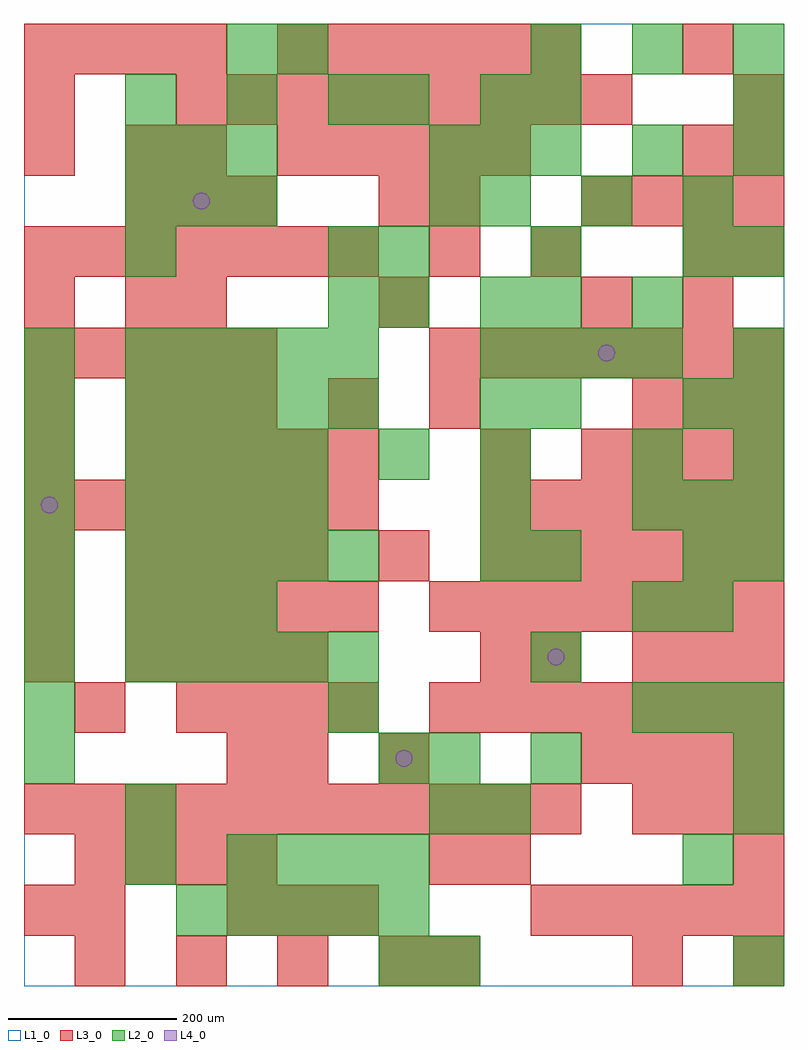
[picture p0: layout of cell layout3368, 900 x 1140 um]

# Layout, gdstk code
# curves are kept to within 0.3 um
import gdstk
lib = gdstk.Library(unit=1e-6, precision=1e-09)
def R(c, l, rs):  # rectangles x0, y0, x1, y1
    for r in rs: c.add(gdstk.rectangle(r[:2], r[2:], *l))
def A(c, l, x, y, w, h, nx, ny, dx, dy):  # array of equal rectangles
    R(c, l, [(x+i*dx, y+j*dy, x+i*dx+w, y+j*dy+h) for i in range(nx) for j in range(ny)])
def P(c, l, *ps):  # polygons
    for p in ps: c.add(gdstk.Polygon(p, *l))
L1_0 = (1, 0)
L2_0 = (2, 0)
L3_0 = (3, 0)
L4_0 = (4, 0)

layout3368 = lib.new_cell('layout3368')
R(layout3368, L1_0, [(0,0,900,1140)])
A(layout3368, L2_0, 180, 60, 60, 60, 5, 1, 60, 0)
A(layout3368, L2_0, 240, 120, 60, 60, 4, 1, 60, 0)
A(layout3368, L2_0, 840, 180, 60, 60, 1, 3, 0, 60)
A(layout3368, L2_0, 600, 240, 60, 60, 1, 3, 0, 120)
A(layout3368, L2_0, 0, 300, 60, 60, 3, 1, 360, 0)
A(layout3368, L2_0, 0, 360, 60, 60, 1, 7, 0, 60)
A(layout3368, L2_0, 120, 360, 60, 60, 5, 2, 60, 120)
A(layout3368, L2_0, 120, 420, 60, 60, 3, 2, 60, 480)
A(layout3368, L2_0, 720, 420, 60, 60, 1, 4, 0, 180)
A(layout3368, L2_0, 540, 480, 60, 60, 1, 4, 0, 60)
A(layout3368, L2_0, 120, 540, 60, 60, 4, 2, 60, 60)
A(layout3368, L2_0, 720, 540, 60, 60, 3, 1, 60, 0)
A(layout3368, L2_0, 840, 600, 60, 60, 1, 3, 0, 60)
A(layout3368, L2_0, 120, 660, 60, 60, 5, 2, 60, 60)
A(layout3368, L2_0, 540, 720, 60, 60, 4, 1, 60, 0)
A(layout3368, L2_0, 420, 840, 60, 60, 3, 1, 180, 0)
A(layout3368, L2_0, 540, 900, 60, 60, 3, 1, 120, 0)
A(layout3368, L2_0, 120, 960, 60, 60, 3, 1, 60, 0)
A(layout3368, L2_0, 480, 960, 60, 60, 3, 1, 60, 0)
A(layout3368, L2_0, 120, 1020, 60, 60, 3, 1, 120, 0)
A(layout3368, L2_0, 600, 1080, 60, 60, 3, 1, 120, 0)
R(layout3368, L2_0, [(420,0,480,60), (480,0,540,60), (840,0,900,60), (120,120,180,180), (780,120,840,180), (120,180,180,240), (480,180,540,240), (540,180,600,240), (0,240,60,300), (420,240,480,300), (480,240,540,300), (780,300,840,360), (780,420,840,480), (780,480,840,540), (840,480,900,540), (420,600,480,660), (600,660,660,720), (780,660,840,720), (360,780,420,840), (420,780,480,840), (540,780,600,840), (600,780,660,840), (120,840,180,900), (360,840,420,900), (840,840,900,900), (480,900,540,960), (840,960,900,1020), (420,1020,480,1080), (540,1020,600,1080), (600,1020,660,1080), (840,1020,900,1080), (240,1080,300,1140), (300,1080,360,1140)])
A(layout3368, L3_0, 60, 0, 60, 60, 4, 1, 120, 0)
A(layout3368, L3_0, 240, 60, 60, 60, 3, 1, 60, 0)
A(layout3368, L3_0, 600, 60, 60, 60, 5, 1, 60, 0)
A(layout3368, L3_0, 60, 120, 60, 60, 4, 1, 60, 0)
A(layout3368, L3_0, 540, 120, 60, 60, 1, 3, 0, 240)
A(layout3368, L3_0, 0, 180, 60, 60, 11, 1, 60, 0)
A(layout3368, L3_0, 720, 180, 60, 60, 3, 2, 60, 180)
A(layout3368, L3_0, 660, 240, 60, 60, 4, 2, 60, 360)
A(layout3368, L3_0, 180, 300, 60, 60, 4, 1, 60, 0)
A(layout3368, L3_0, 480, 300, 60, 60, 7, 2, 60, 120)
A(layout3368, L3_0, 0, 360, 60, 60, 1, 3, 0, 60)
A(layout3368, L3_0, 120, 360, 60, 60, 4, 2, 60, 120)
A(layout3368, L3_0, 120, 420, 60, 60, 5, 2, 60, 180)
A(layout3368, L3_0, 540, 480, 60, 60, 6, 2, 60, 60)
A(layout3368, L3_0, 0, 540, 60, 60, 7, 2, 60, 300)
A(layout3368, L3_0, 120, 660, 60, 60, 3, 2, 60, 240)
A(layout3368, L3_0, 720, 660, 60, 60, 3, 1, 60, 0)
A(layout3368, L3_0, 0, 720, 60, 60, 5, 1, 60, 0)
A(layout3368, L3_0, 480, 720, 60, 60, 7, 1, 60, 0)
A(layout3368, L3_0, 180, 780, 60, 60, 3, 1, 240, 0)
A(layout3368, L3_0, 780, 840, 60, 60, 1, 3, 0, 120)
A(layout3368, L3_0, 660, 900, 60, 60, 4, 1, 60, 0)
A(layout3368, L3_0, 300, 960, 60, 60, 5, 1, 60, 0)
A(layout3368, L3_0, 180, 1020, 60, 60, 9, 1, 60, 0)
A(layout3368, L3_0, 0, 1080, 60, 60, 4, 1, 60, 0)
A(layout3368, L3_0, 300, 1080, 60, 60, 6, 1, 60, 0)
R(layout3368, L3_0, [(480,0,540,60), (720,0,780,60), (840,0,900,60), (0,60,60,120), (60,60,120,120), (480,120,540,180), (840,120,900,180), (240,240,300,300), (300,240,360,300), (420,240,480,300), (60,300,120,360), (600,360,660,420), (420,480,480,540), (0,600,60,660), (0,660,60,720), (360,660,420,720), (480,660,540,720), (0,780,60,840), (120,780,180,840), (780,780,840,840), (480,840,540,900), (600,840,660,900), (840,840,900,900), (420,900,480,960), (480,900,540,960), (0,960,60,1020), (120,960,180,1020), (180,960,240,1020), (840,960,900,1020), (0,1020,60,1080), (840,1020,900,1080)])
P(layout3368, L4_0, [(40,570),(39.239,573.827),(37.071,577.071),(33.827,579.239),(30,580),(26.173,579.239),(22.929,577.071),(20.761,573.827),(20,570),(20.761,566.173),(22.929,562.929),(26.173,560.761),(30,560),(33.827,560.761),(37.071,562.929),(39.239,566.173)],
  [(220,930),(219.239,933.827),(217.071,937.071),(213.827,939.239),(210,940),(206.173,939.239),(202.929,937.071),(200.761,933.827),(200,930),(200.761,926.173),(202.929,922.929),(206.173,920.761),(210,920),(213.827,920.761),(217.071,922.929),(219.239,926.173)],
  [(460,270),(459.239,273.827),(457.071,277.071),(453.827,279.239),(450,280),(446.173,279.239),(442.929,277.071),(440.761,273.827),(440,270),(440.761,266.173),(442.929,262.929),(446.173,260.761),(450,260),(453.827,260.761),(457.071,262.929),(459.239,266.173)],
  [(640,390),(639.239,393.827),(637.071,397.071),(633.827,399.239),(630,400),(626.173,399.239),(622.929,397.071),(620.761,393.827),(620,390),(620.761,386.173),(622.929,382.929),(626.173,380.761),(630,380),(633.827,380.761),(637.071,382.929),(639.239,386.173)],
  [(700,750),(699.239,753.827),(697.071,757.071),(693.827,759.239),(690,760),(686.173,759.239),(682.929,757.071),(680.761,753.827),(680,750),(680.761,746.173),(682.929,742.929),(686.173,740.761),(690,740),(693.827,740.761),(697.071,742.929),(699.239,746.173)])

lib.write_gds('layout3368.gds')
